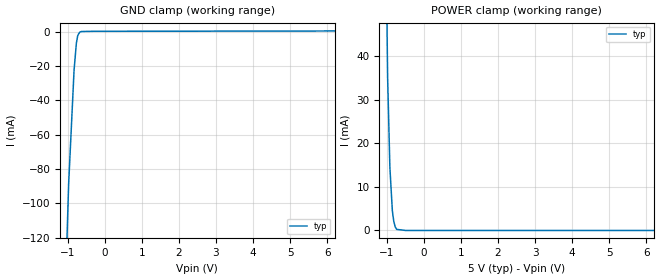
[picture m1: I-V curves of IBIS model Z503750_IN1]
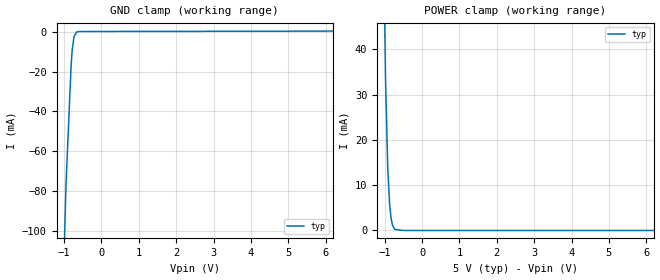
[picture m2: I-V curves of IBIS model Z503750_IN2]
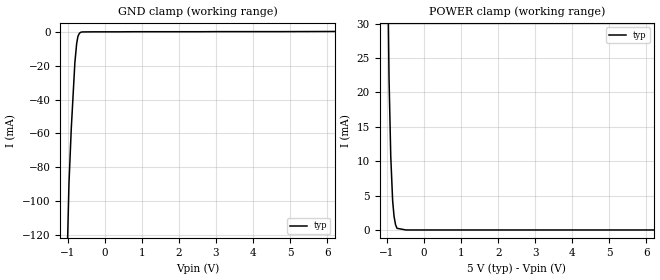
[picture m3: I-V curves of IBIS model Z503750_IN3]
| YOU ARE ONLY AUTHORIZED TO USE THIS SOFTWARE
| ACCORDING TO LICENSOR'S LICENSE RESTRICTIONS.
[IBIS Ver] 3.1
[File Name] mc74ac161n_5.ibs
[File Rev] 2.0
[Source] Measured and created by ICX Technology
[Date] Friday 7/14/00 9:07:59 AM
[Copyright]
| (C) COPYRIGHT 1993-2000
| MENTOR GRAPHICS CORPORATION
| ICX STANDARD LIBRARY, ICX PROJECT MODELING,
| ICX CUSTOM MODELING, ICX VENDOR MODEL
| ALL RIGHTS RESERVED.
| THE FOLLOWING ARE TRADEMARKS OR SERVICE MARKS OF
| MENTOR GRAPHICS CORPORATION:ICX (R), ICX STANDARD
| LIBRARY(R), ICX PROJECT MODELING(R), ICX CUSTOM
| MODELING(R), qualityIBIS(TM), MODELVIEWER(TM),
| AND MODELEDITOR(TM)
| ALL COPIES OF SOFTWARE, INCLUDING BUT NOT LIMITED TO
| ANY MODIFICATIONS, ENHANCEMENTS OR DERIVATIVE WORKS,
| MUST CONTAIN ALL MENTOR GRAPHICS CORPORATION'S
| NOTICES AND LEGENDS, INCLUDING THOSE EMBEDDED IN
| SOFTWARE AND THOSE AFFIXED TO SOFTWARE MEDIUM
| AND CONTAINER, AS RECEIVED FROM MENTOR GRAPHICS
| CORPORATION.
|  ZAP Model Builder 2.7
[Component] MC74AC161N_5
[Manufacturer] OnSemiconductor
[Package]
| variable   typ   min   max
R_pkg  .212ohms NA NA
L_pkg  4.758nH NA NA
C_pkg  1.143pF NA NA
[Pin] signal_name  model_name  R_pin  L_pin C_pin
1 _M_R Z503750_IN1 .224 7.258n 1.578p
2 CP Z503750_IN2 .216 5.258n 1.288p
3 D0 Z503750_IN3 .208 3.758n .998p
4 D1 Z503750_IN3 .2 2.758n .708p
5 D2 Z503750_IN3 .2 2.758n .708p
6 D3 Z503750_IN3 .208 3.758n .998p
7 CEP Z503750_IN4 .216 5.258n 1.288p
8 GND GND .224 7.258n 1.578p
9 _P_E Z503750_IN5 .224 7.258n 1.578p
10 CET Z503750_IN6 .216 5.258n 1.288p
11 Q3 Z503750_OUT7 .208 3.758n .998p
12 Q2 Z503750_OUT7 .2 2.758n .708p
13 Q1 Z503750_OUT7 .2 2.758n .708p
14 Q0 Z503750_OUT7 .208 3.758n .998p
15 TC Z503750_OUT8 .216 5.258n 1.288p
16 Vcc POWER .224 7.258n 1.578p
| Models and submodels in the file (8): Z503750_IN1 (Input), Z503750_IN2 (Input), Z503750_IN3 (Input), Z503750_IN4 (Input), Z503750_IN5 (Input), Z503750_IN6 (Input), Z503750_OUT7 (Output), Z503750_OUT8 (Output)
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| (C) COPYRIGHT 1993-2000
| MENTOR GRAPHICS CORPORATION
| ICX STANDARD LIBRARY, ICX PROJECT MODELING,
| ICX CUSTOM MODELING, ICX VENDOR MODEL
| ALL RIGHTS RESERVED.
| THE FOLLOWING ARE TRADEMARKS OR SERVICE MARKS OF
| MENTOR GRAPHICS CORPORATION:ICX (R), ICX STANDARD
| LIBRARY(R), ICX PROJECT MODELING(R), ICX CUSTOM
| MODELING(R), qualityIBIS(TM), MODELVIEWER(TM),
| AND MODELEDITOR(TM)
| ALL COPIES OF SOFTWARE, INCLUDING BUT NOT LIMITED TO
| ANY MODIFICATIONS, ENHANCEMENTS OR DERIVATIVE WORKS,
| MUST CONTAIN ALL MENTOR GRAPHICS CORPORATION'S
| NOTICES AND LEGENDS, INCLUDING THOSE EMBEDDED IN
| SOFTWARE AND THOSE AFFIXED TO SOFTWARE MEDIUM
| AND CONTAINER, AS RECEIVED FROM MENTOR GRAPHICS
| CORPORATION.
| Model Application Version 1.89 2/18/99.
[Model] Z503750_IN1
Model_type Input
Vinl = 1.500V
Vinh = 3.500V
C_comp 4.000pF NA NA
| variable typ   min   max
[Voltage Range] 5.000V NA NA
[GND Clamp Reference] 0.000V NA NA
[POWER Clamp Reference] 5.000V NA NA
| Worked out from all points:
|   GND clamp passes 1 mA (typ) near -0.69 V on its own axis
|   POWER clamp passes 1 mA (typ) near -0.78 V on its own axis
[GND Clamp]
-5V       -3.055A    NA         NA
-1.03V    -130.3mA   NA         NA
-825mV    -22.53mA   NA         NA
-762.7mV  -6.728mA   NA         NA
-728.8mV  -2.574mA   NA         NA
-667.3mV  -256.1uA   NA         NA
-627.9mV  51.56uA    NA         NA
10V       623.6uA    NA         NA
[POWER Clamp]
-5V       4.548A     NA         NA
-1.089V   115.3mA    NA         NA
-977mV    35.29mA    NA         NA
-916mV    14.54mA    NA         NA
-849mV    4.513mA    NA         NA
-811mV    2.104mA    NA         NA
-771mV    793.1uA    NA         NA
-732mV    253.9uA    NA         NA
-488mV    0A         NA         NA
10V       0A         NA         NA
| (C) COPYRIGHT 1993-2000
| MENTOR GRAPHICS CORPORATION
| ICX STANDARD LIBRARY, ICX PROJECT MODELING,
| ICX CUSTOM MODELING, ICX VENDOR MODEL
| ALL RIGHTS RESERVED.
| THE FOLLOWING ARE TRADEMARKS OR SERVICE MARKS OF
| MENTOR GRAPHICS CORPORATION:ICX (R), ICX STANDARD
| LIBRARY(R), ICX PROJECT MODELING(R), ICX CUSTOM
| MODELING(R), qualityIBIS(TM), MODELVIEWER(TM),
| AND MODELEDITOR(TM)
| ALL COPIES OF SOFTWARE, INCLUDING BUT NOT LIMITED TO
| ANY MODIFICATIONS, ENHANCEMENTS OR DERIVATIVE WORKS,
| MUST CONTAIN ALL MENTOR GRAPHICS CORPORATION'S
| NOTICES AND LEGENDS, INCLUDING THOSE EMBEDDED IN
| SOFTWARE AND THOSE AFFIXED TO SOFTWARE MEDIUM
| AND CONTAINER, AS RECEIVED FROM MENTOR GRAPHICS
| CORPORATION.
| Model Application Version 1.89 2/18/99.
[Model] Z503750_IN2
Model_type Input
Vinl = 1.500V
Vinh = 3.500V
C_comp 4.000pF NA NA
| variable typ   min   max
[Voltage Range] 5.000V NA NA
[GND Clamp Reference] 0.000V NA NA
[POWER Clamp Reference] 5.000V NA NA
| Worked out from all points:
|   GND clamp passes 1 mA (typ) near -0.69 V on its own axis
|   POWER clamp passes 1 mA (typ) near -0.78 V on its own axis
[GND Clamp]
-5V       -2.976A    NA         NA
-1.016V   -124.4mA   NA         NA
-946.5mV  -76.83mA   NA         NA
-810.5mV  -17.39mA   NA         NA
-781mV    -9.133mA   NA         NA
-729.9mV  -2.27mA    NA         NA
-667.5mV  -225.8uA   NA         NA
-628mV    67.59uA    NA         NA
10V       630.6uA    NA         NA
[POWER Clamp]
-5V       3.527A     NA         NA
-1.073V   91.33mA    NA         NA
-977mV    33.94mA    NA         NA
-917mV    13.87mA    NA         NA
-867mV    5.803mA    NA         NA
-830mV    2.855mA    NA         NA
-792mV    1.251mA    NA         NA
-732mV    232.7uA    NA         NA
-488mV    0A         NA         NA
10V       0A         NA         NA
| (C) COPYRIGHT 1993-2000
| MENTOR GRAPHICS CORPORATION
| ICX STANDARD LIBRARY, ICX PROJECT MODELING,
| ICX CUSTOM MODELING, ICX VENDOR MODEL
| ALL RIGHTS RESERVED.
| THE FOLLOWING ARE TRADEMARKS OR SERVICE MARKS OF
| MENTOR GRAPHICS CORPORATION:ICX (R), ICX STANDARD
| LIBRARY(R), ICX PROJECT MODELING(R), ICX CUSTOM
| MODELING(R), qualityIBIS(TM), MODELVIEWER(TM),
| AND MODELEDITOR(TM)
| ALL COPIES OF SOFTWARE, INCLUDING BUT NOT LIMITED TO
| ANY MODIFICATIONS, ENHANCEMENTS OR DERIVATIVE WORKS,
| MUST CONTAIN ALL MENTOR GRAPHICS CORPORATION'S
| NOTICES AND LEGENDS, INCLUDING THOSE EMBEDDED IN
| SOFTWARE AND THOSE AFFIXED TO SOFTWARE MEDIUM
| AND CONTAINER, AS RECEIVED FROM MENTOR GRAPHICS
| CORPORATION.
| Model Application Version 1.89 2/18/99.
[Model] Z503750_IN3
Model_type Input
Vinl = 1.500V
Vinh = 3.500V
C_comp 4.000pF NA NA
| variable typ   min   max
[Voltage Range] 5.000V NA NA
[GND Clamp Reference] 0.000V NA NA
[POWER Clamp Reference] 5.000V NA NA
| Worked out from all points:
|   GND clamp passes 1 mA (typ) near -0.69 V on its own axis
|   POWER clamp passes 1 mA (typ) near -0.78 V on its own axis
[GND Clamp]
-5V       -3.059A    NA         NA
-1.172V   -272.1mA   NA         NA
-970.6mV  -90.24mA   NA         NA
-908.2mV  -57.35mA   NA         NA
-810.5mV  -18.05mA   NA         NA
-762.5mV  -6.795mA   NA         NA
-729mV    -2.612mA   NA         NA
-687.1mV  -662.5uA   NA         NA
-648.2mV  -66.04uA   NA         NA
10V       629.4uA    NA         NA
[POWER Clamp]
-5V       2.957A     NA         NA
-1.055V   72.08mA    NA         NA
-947mV    22.25mA    NA         NA
-900mV    10.75mA    NA         NA
-849mV    4.257mA    NA         NA
-811mV    1.984mA    NA         NA
-771mV    768.6uA    NA         NA
-732mV    241.6uA    NA         NA
-488mV    0A         NA         NA
10V       0A         NA         NA
